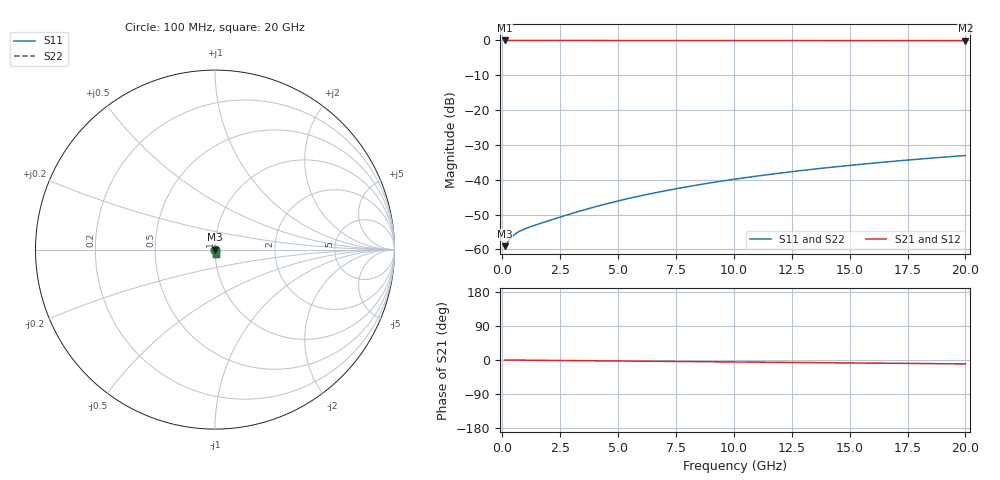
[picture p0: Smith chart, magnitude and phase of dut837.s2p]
! Touchstone file exported from HFSS 2026.1.0
!  File:  C:/ffzhzh/LocalFiles/Ansys_Project_Files/temp_train_BSMRDL_837_1783170329_22436.aedt
!  Generated:  09:06:39 PM Jul  4, 2026
!  Design:  BSMRDL
!  Project:  temp_train_BSMRDL_837_1783170329_22436
! Variables:
!  h_bsmrdl = 2.9um
!  h_ox = 20um
!  h_rdl = 5um
!  h_sub = 80um
!  h_tmrdl = 5um
!  h_tsv = 80um
!  h_via = 3um
!  l_bsmrdl = 169.68um
!  l_sub = 569.68um
!  l_tmrdl = 200um
!  m_sub = 200um
!  pitch = 29.48um
!  r_tsv = 6um
!  s_tmrdl = 10um
!  w_bsmrdl = 26.93um
!  w_sub = 500um
!  w_tmrdl = 12um
!  x_tsv_center1 = 206um
!  x_tsv_center2 = 402.61um
!  x_tsv_center3 = 614.61um
!  x_tsv_center4 = 811.22um
!  x_tsv_center5 = 1023.22um
!  x_tsv_center6 = 1219.83um
# GHz S MA R 50.000000
! Terminal data exported
! Port[1] = BSM_RDL1_1_T1
! Port[2] = BSM_RDL1_1_T2
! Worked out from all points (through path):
!   200 points, 100 MHz to 20 GHz, reference 50 ohm
!   highest |S21| = -0.01 dB at 100 MHz (marker M1); lowest = -0.1 dB at 20 GHz (marker M2)
!   group delay of S21, straight-line fit = 1.42 ps
!   lowest |S11| = -59.1 dB at 100 MHz (marker M3), VSWR 1.00, Z = 50.1 + j0.0129 ohm
!   |S11| at or under -10 dB: start of sweep to end of sweep
!   |S22| runs from -59.1 to -33.0 dB; largest |S21 - S12| = 2.6e-14
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0.1  0.001114 6.7  0.9989 -0.1  0.9989 -0.1  0.001114 6.7
! Gamma 0 0 0 0
! Port Impedance 50 0 50 0
0.3  0.001369 10.5  0.9987 -0.2  0.9987 -0.2  0.001369 10.5
0.4  0.001501 8.7  0.9985 -0.2  0.9985 -0.2  0.001501 8.7
0.5  0.001614 6.0  0.9984 -0.3  0.9984 -0.3  0.001614 6.0
0.6  0.001711 3.0  0.9983 -0.3  0.9983 -0.3  0.001711 3.0
0.8  0.001866 -3.2  0.9981 -0.5  0.9981 -0.5  0.001866 -3.2
1.1  0.002051 -11.6  0.998 -0.6  0.998 -0.6  0.002051 -11.6
1.6  0.002338 -22.8  0.9978 -0.9  0.9978 -0.9  0.002338 -22.8
2.6  0.002987 -38.0  0.9976 -1.4  0.9976 -1.4  0.002987 -38.0
3.5  0.003671 -46.8  0.9974 -1.9  0.9974 -1.9  0.003671 -46.8
4.3  0.004342 -52.2  0.9972 -2.3  0.9972 -2.3  0.004341 -52.2
5.1  0.005058 -56.3  0.997 -2.7  0.997 -2.7  0.005058 -56.3
5.9  0.005814 -59.4  0.9968 -3.1  0.9968 -3.1  0.005814 -59.5
6.8  0.006706 -62.3  0.9965 -3.6  0.9965 -3.6  0.006706 -62.3
8.4  0.008383 -66.1  0.996 -4.4  0.996 -4.4  0.008382 -66.2
10.1  0.01027 -69.3  0.9955 -5.3  0.9955 -5.3  0.01027 -69.4
11.7  0.01212 -71.9  0.995 -6.1  0.995 -6.1  0.01212 -71.9
13.4  0.01414 -74.3  0.9944 -6.9  0.9944 -6.9  0.01414 -74.3
15  0.01608 -76.3  0.994 -7.7  0.994 -7.7  0.01608 -76.3
16.7  0.01818 -78.3  0.9935 -8.6  0.9935 -8.6  0.01818 -78.3
18.3  0.02017 -80.0  0.9931 -9.4  0.9931 -9.4  0.02017 -80.1
20  0.0223 -81.8  0.9927 -10.2  0.9927 -10.2  0.0223 -81.8
